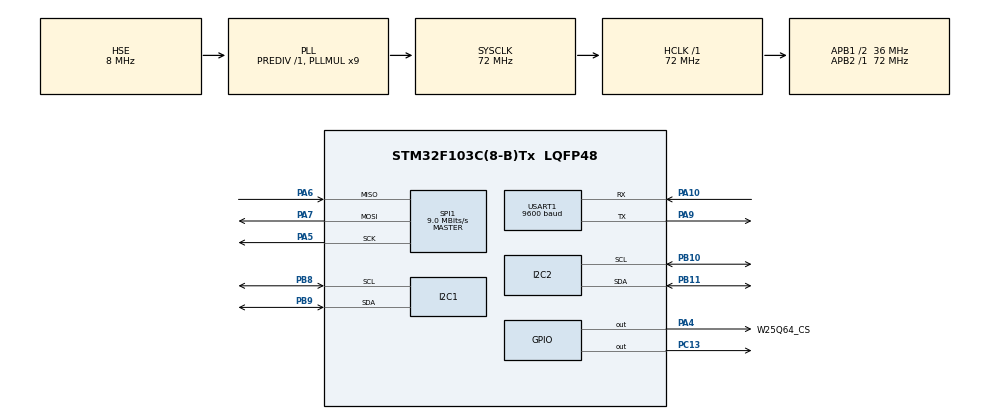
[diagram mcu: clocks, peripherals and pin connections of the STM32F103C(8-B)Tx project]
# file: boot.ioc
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Mcu.Family=STM32F1
Mcu.Name=STM32F103C(8-B)Tx
Mcu.Package=LQFP48
NVIC.PriorityGroup=NVIC_PRIORITYGROUP_4
NVIC.USART1_IRQn=true\:5\:0\:true\:false\:true\:true\:true\:true
PA10.Mode=Asynchronous
PA10.Signal=USART1_RX
PA13.Mode=Serial_Wire
PA13.Signal=SYS_JTMS-SWDIO
PA14.Mode=Serial_Wire
PA14.Signal=SYS_JTCK-SWCLK
PA4.GPIO_Label=W25Q64_CS
PA4.GPIO_Speed=GPIO_SPEED_FREQ_HIGH
PA4.PinState=GPIO_PIN_SET
PA4.Signal=GPIO_Output
PA5.Mode=Full_Duplex_Master
PA5.Signal=SPI1_SCK
PA6.Mode=Full_Duplex_Master
PA6.Signal=SPI1_MISO
PA7.Mode=Full_Duplex_Master
PA7.Signal=SPI1_MOSI
PA9.Mode=Asynchronous
PA9.Signal=USART1_TX
PB10.Mode=I2C
PB10.Signal=I2C2_SCL
PB11.Mode=I2C
PB11.Signal=I2C2_SDA
PB8.Mode=I2C
PB8.Signal=I2C1_SCL
PB9.Mode=I2C
PB9.Signal=I2C1_SDA
PC13-TAMPER-RTC.PinState=GPIO_PIN_SET
PC13-TAMPER-RTC.Signal=GPIO_Output
PD0-OSC_IN.Mode=HSE-External-Oscillator
PD0-OSC_IN.Signal=RCC_OSC_IN
PD1-OSC_OUT.Mode=HSE-External-Oscillator
PD1-OSC_OUT.Signal=RCC_OSC_OUT
ProjectManager.HeapSize=0x200
ProjectManager.StackSize=0x400
ProjectManager.TargetToolchain=MDK-ARM V5.32
RCC.AHBFreq_Value=72000000
RCC.APB1CLKDivider=RCC_HCLK_DIV2
RCC.APB1Freq_Value=36000000
RCC.APB1TimFreq_Value=72000000
RCC.APB2Freq_Value=72000000
RCC.APB2TimFreq_Value=72000000
RCC.HCLKFreq_Value=72000000
RCC.PLLMUL=RCC_PLL_MUL9
RCC.PLLSourceVirtual=RCC_PLLSOURCE_HSE
RCC.SYSCLKFreq_VALUE=72000000
RCC.SYSCLKSource=RCC_SYSCLKSOURCE_PLLCLK
RCC.USBFreq_Value=72000000
SPI1.BaudRatePrescaler=SPI_BAUDRATEPRESCALER_8
SPI1.CalculateBaudRate=9.0 MBits/s
SPI1.Direction=SPI_DIRECTION_2LINES
SPI1.Mode=SPI_MODE_MASTER
SPI1.VirtualType=VM_MASTER
USART1.BaudRate=9600
USART1.VirtualMode=VM_ASYNC
board=custom

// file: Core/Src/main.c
/* USER CODE BEGIN Header */
/**
  ******************************************************************************
  * @file           : main.c
  * @brief          : Main program body
  ******************************************************************************
  * @attention
  *
  * Copyright (c) 2026 STMicroelectronics.
  * All rights reserved.
  *
  * This software is licensed under terms that can be found in the LICENSE file
  * in the root directory of this software component.
  * If no LICENSE file comes with this software, it is provided AS-IS.
  *
  ******************************************************************************
  */
/* USER CODE END Header */
#include "main.h"
#include "i2c.h"
#include "spi.h"
#include "usart.h"
#include "gpio.h"

/* USER CODE BEGIN Includes */
#include <string.h>
#include "bootloader.h"
#include "w25q64.h"
#include <stdio.h>
/* USER CODE END Includes */

/* USER CODE BEGIN PV */
OTA_MetaInfo_t incoming_meta = {0}; // 上位机发来的固件信息（16 字节）

volatile uint8_t meta_waiting = 0; // 固件信息接收中：1=是，0=否
uint32_t meta_start_tick = 0; // 固件信息接收起始时间（ms）

uint8_t rx_buffer[256] = {0}; // 串口接收缓冲区
uint32_t current_write_addr = 0x000000; // W25Q64 下次写入地址

// 任务编号：0=空闲，1=擦外部 Flash，2=写数据，3=接收固件信息
// 4=搬运固件，5=保存固件信息，6=设置升级标志
volatile uint8_t cmd_flag = 0; // 待执行任务，由串口回调设置
volatile uint16_t rx_len = 0; // 本次接收长度（字节）

/* USER CODE END PV */

void SystemClock_Config(void);

int main(void)
{

  /* MCU Configuration--------------------------------------------------------*/

  /* Reset of all peripherals, Initializes the Flash interface and the Systick. */
  HAL_Init();

  /* Configure the system clock */
  SystemClock_Config();

  /* Initialize all configured peripherals */
  MX_GPIO_Init();
  MX_I2C1_Init();
  MX_I2C2_Init();
  MX_USART1_UART_Init();
  MX_SPI1_Init();
  /* USER CODE BEGIN 2 */
  HAL_UART_Transmit(&huart1, (uint8_t *)"Bootloader ready!\r\n", 19, 1000);

  OTA_MetaInfo_t current_meta; // 启动时读取的 EEPROM 固件信息
  Bootloader_ReadMeta(&current_meta);

  if (current_meta.ota_flag == OTA_FLAG_UPDATE)
  {
      HAL_UART_Transmit(&huart1, (uint8_t *)"Wait for OTA update...\r\n", 24, 1000);
  }
  else
  {
      HAL_UART_Transmit(&huart1, (uint8_t *)"Normal boot, try jump...\r\n", 26, 1000);
      Bootloader_JumpToApp(APP_FLASH_ADDR);
  }

  HAL_UARTEx_ReceiveToIdle_IT(&huart1, rx_buffer, sizeof(rx_buffer));
  /* USER CODE END 2 */

  /* Infinite loop */
  /* USER CODE BEGIN WHILE */
  while (1)
  {
    if (meta_waiting && (uint32_t)(HAL_GetTick() - meta_start_tick) >= 10000U)
    {
        HAL_UART_AbortReceive(&huart1);
        meta_waiting = 0;

     if (cmd_flag != 5)
     {
         uint8_t ack = 'N'; // 失败应答
         HAL_UARTEx_ReceiveToIdle_IT(&huart1, rx_buffer, sizeof(rx_buffer));
         HAL_UART_Transmit(&huart1, &ack, 1, 100);
     }
    }
    switch (cmd_flag)
    {
        case 1: // 擦除外部 Flash
            {
                // 固定擦除 16 KB，尚未按固件长度计算
                // addr：扇区地址，步长 4 KB
                for (uint32_t addr = 0; addr < 0x004000; addr += 0x1000)
                {
                    W25Q64_Erase_Sector(addr);
                }
                current_write_addr = 0x000000;

                // 擦除调用结束后应答，未校验结果
                uint8_t ack = 'E'; // 擦除流程应答
                HAL_UART_Transmit(&huart1, &ack, 1, 100);
                cmd_flag = 0;
            }
            break;

        case 2: // 写入收到的固件数据
            {
                W25Q64_Write_Page(current_write_addr, rx_buffer, rx_len);
                current_write_addr += rx_len;

                // 写入调用结束后应答，未读回校验
                uint8_t ack = '0'; // 数据应答：字符 '0'
                HAL_UART_Transmit(&huart1, &ack, 1, 100);
                cmd_flag = 0;
            }
            break;

        case 3:
            {
                uint8_t ack = 'h'; // 小写 h：准备接收固件信息
                cmd_flag = 0;

                meta_start_tick = HAL_GetTick();
                meta_waiting = 1;

                if (HAL_UART_Receive_IT(&huart1, (uint8_t *)&incoming_meta, sizeof(incoming_meta)) != HAL_OK)
                {
                    meta_waiting = 0;
                    ack = 'N';
                    HAL_UARTEx_ReceiveToIdle_IT(&huart1, rx_buffer, sizeof(rx_buffer));
                }

                HAL_UART_Transmit(&huart1, &ack, 1, 100);
                break;
            }

        case 4: // 将外部固件搬运到 App 分区
            {
                OTA_MetaInfo_t meta; // EEPROM 固件信息
                Bootloader_ReadMeta(&meta);

                // 仅检查长度，尚未校验 CRC
                if (meta.firmware_size == 0 || meta.firmware_size > (48 * 1024))
                {
                    cmd_flag = 0;
                    break;
                }
                uint8_t move_buf[256];                      // 每次读回最多256字节
                uint32_t total_size = meta.firmware_size;   // 固件总字节数
                uint32_t check_addr = 0;                    // 外部Flash读取地址
                uint32_t crc = 0xFFFFFFFFU;                 // CRC32初始值
               while (check_addr < total_size)
                {
                    uint16_t chunk = 256; // 默认读取256字节

                    if (total_size - check_addr < 256)
                    {
                        chunk = total_size - check_addr; // 最后一块只读剩余字节
                    }

                    W25Q64_Read_Data(check_addr, move_buf, chunk);

                    for (uint16_t i = 0; i < chunk; i++)
                    {
                        crc ^= move_buf[i]; // 合入当前字节

                        for (uint8_t bit = 0; bit < 8; bit++)
                        {
                            if ((crc & 1U) != 0)
                            {
                                crc = (crc >> 1) ^ 0xEDB88320U;
                            }
                            else
                            {
                                crc >>= 1;
                            }
                        }
                    }

                    check_addr += chunk; // 下一块的起始地址
                }
                crc ^= 0xFFFFFFFFU; // 整份固件处理完，最终取反

                if (crc != meta.firmware_crc32)
                {
                    HAL_UART_Transmit(&huart1, (uint8_t *)"CRC check failed\r\n", 18, 1000);
                    cmd_flag = 0;
                    break; // 退出当前case，不执行下面的擦除
                }

                if (Bootloader_EraseApp() != HAL_OK)
                {
                    cmd_flag = 0;
                    break; // 擦除失败，退出当前 case，不继续搬运
                }

                uint32_t src_addr = 0x000000; // W25Q64 读取地址
                uint32_t dst_addr = APP_FLASH_ADDR; // 内部 Flash 写入地址
                 // 固件总长度（字节）
                uint32_t copied = 0; // 累计搬运字节数，未校验结果
                HAL_StatusTypeDef write_result = HAL_OK;

                while (copied < total_size)
                {
                    uint16_t chunk = (total_size - copied > 256) ? 256 : (total_size - copied); // 本轮搬运字节数，最多 256
                    W25Q64_Read_Data(src_addr, move_buf, chunk);
                    write_result = Bootloader_WriteFlash(dst_addr, move_buf, chunk);
                    if (write_result != HAL_OK)
                    {
                        break; // 退出 while，停止搬运
                    }
                    src_addr += chunk;
                    dst_addr += chunk;
                    copied   += chunk;
                }
                if (write_result != HAL_OK)
                {
                    cmd_flag = 0;
                    break; // 退出当前 case，跳过后续处理
                }
                crc = 0xFFFFFFFFU; // 开始新的 CRC 计算，重新设置初始值
                const uint8_t *app_data = (const uint8_t *)APP_FLASH_ADDR; // 按字节读取内部 APP
                for (uint32_t i = 0; i < total_size; i++)
                {
                    crc ^= app_data[i]; // 读取内部 APP 的一个字节，合入 CRC

                    for (uint8_t bit = 0; bit < 8; bit++)
                    {
                        if ((crc & 1U) != 0)
                        {
                            crc = (crc >> 1) ^ 0xEDB88320U;
                        }
                        else
                        {
                            crc >>= 1;
                        }
                    }
                }

                crc ^= 0xFFFFFFFFU; // 全部字节处理完，最终取反
                if (crc != meta.firmware_crc32)
                {
                    HAL_UART_Transmit(&huart1, (uint8_t *)"APP CRC failed\r\n", 16, 1000);
                    cmd_flag = 0;
                    break; // 退出当前 case，不清升级标志，也不执行后面的复位
                }
                // 搬运后清标志
                meta.ota_flag = OTA_FLAG_NORMAL;
                Bootloader_WriteMeta(&meta);

                cmd_flag = 0;
                HAL_Delay(100);
                NVIC_SystemReset();
            }
            break;
            case 5:
            {
                uint8_t ack = 'N'; // 失败应答
                cmd_flag = 0;

                if (incoming_meta.ota_flag == OTA_FLAG_UPDATE && incoming_meta.firmware_size >= 8U && incoming_meta.firmware_size <= 48U * 1024U)
                {
                    HAL_StatusTypeDef result = Bootloader_WriteMeta(&incoming_meta); // 保存及读回校验结果

                    if (result == HAL_OK)
                    {
                        ack = 'H';
                    }
                }

                HAL_UARTEx_ReceiveToIdle_IT(&huart1, rx_buffer, sizeof(rx_buffer));
                HAL_UART_Transmit(&huart1, &ack, 1, 100);
                break;
            }
            case 6:
            {
                OTA_MetaInfo_t meta = {0}; // 读取原记录，仅修改升级标志
                cmd_flag = 0;

                Bootloader_ReadMeta(&meta);
                meta.ota_flag = OTA_FLAG_UPDATE;
                Bootloader_WriteMeta(&meta);

                HAL_UART_Transmit(&huart1, (uint8_t *)"Set Flag OK!\r\n", 14, 100);
                break;
            }

        default:
            break;
    }

    /* USER CODE END WHILE */

  }
}

void SystemClock_Config(void)
{
  RCC_OscInitTypeDef RCC_OscInitStruct = {0};
  RCC_ClkInitTypeDef RCC_ClkInitStruct = {0};

  /** Initializes the RCC Oscillators according to the specified parameters
  * in the RCC_OscInitTypeDef structure.
  */
  RCC_OscInitStruct.OscillatorType = RCC_OSCILLATORTYPE_HSE;
  RCC_OscInitStruct.HSEState = RCC_HSE_ON;
  RCC_OscInitStruct.HSEPredivValue = RCC_HSE_PREDIV_DIV1;
  RCC_OscInitStruct.HSIState = RCC_HSI_ON;
  RCC_OscInitStruct.PLL.PLLState = RCC_PLL_ON;
  RCC_OscInitStruct.PLL.PLLSource = RCC_PLLSOURCE_HSE;
  RCC_OscInitStruct.PLL.PLLMUL = RCC_PLL_MUL9;
  if (HAL_RCC_OscConfig(&RCC_OscInitStruct) != HAL_OK)
  {
    Error_Handler();
  }

  /** Initializes the CPU, AHB and APB buses clocks
  */
  RCC_ClkInitStruct.ClockType = RCC_CLOCKTYPE_HCLK|RCC_CLOCKTYPE_SYSCLK
                              |RCC_CLOCKTYPE_PCLK1|RCC_CLOCKTYPE_PCLK2;
  RCC_ClkInitStruct.SYSCLKSource = RCC_SYSCLKSOURCE_PLLCLK;
  RCC_ClkInitStruct.AHBCLKDivider = RCC_SYSCLK_DIV1;
  RCC_ClkInitStruct.APB1CLKDivider = RCC_HCLK_DIV2;
  RCC_ClkInitStruct.APB2CLKDivider = RCC_HCLK_DIV1;

  if (HAL_RCC_ClockConfig(&RCC_ClkInitStruct, FLASH_LATENCY_2) != HAL_OK)
  {
    Error_Handler();
  }
}

/* USER CODE BEGIN 4 */
// huart：串口句柄；Size：本次接收字节数
void HAL_UARTEx_RxEventCallback(UART_HandleTypeDef *huart, uint16_t Size)
{
        if (huart->Instance == USART1)
        {
            if (Size == 1 && rx_buffer[0] == 'H')
        {
            cmd_flag = 3;
            return;
        }
        else if (Size <= 3 && rx_buffer[0] == 'U')
        {
            cmd_flag = 6;
        }
        else if (Size <= 3 && rx_buffer[0] == 'E')
        {
            cmd_flag = 1; // 提交擦除任务
        }
        else if (Size <= 3 && rx_buffer[0] == 'C')
        {
            cmd_flag = 4; // 提交搬运任务
        }
        else if (Size == 1 && rx_buffer[0] == 'V')
        {
            // 收到版本查询，不做任何操作
        }
        else
        {
            rx_len = Size; // 本次接收长度，可能不足一包
            cmd_flag = 2;  // 提交写入任务，缓冲区仍被接收复用
        }

        HAL_UARTEx_ReceiveToIdle_IT(&huart1, rx_buffer, sizeof(rx_buffer));
        }
}
// 固件信息接收完成，提交保存任务
void HAL_UART_RxCpltCallback(UART_HandleTypeDef *huart)
{
    if (huart->Instance == USART1 && meta_waiting)
    {
        meta_waiting = 0;
        cmd_flag = 5;
    }
}
/* USER CODE END 4 */

void Error_Handler(void)
{
  __disable_irq();
  while (1)
  {
  }
}
